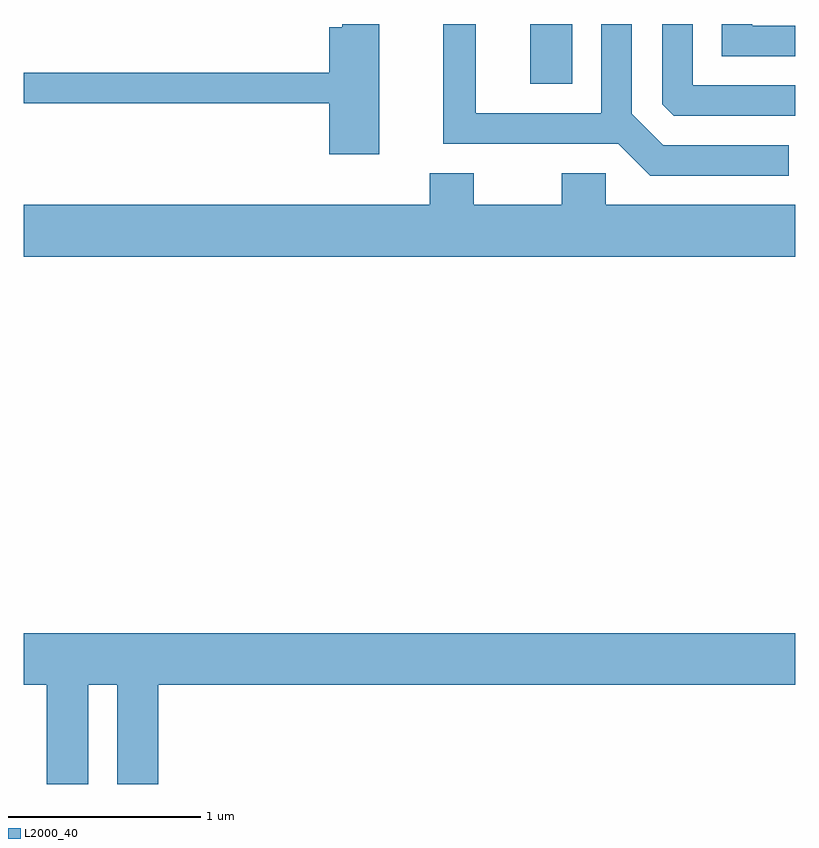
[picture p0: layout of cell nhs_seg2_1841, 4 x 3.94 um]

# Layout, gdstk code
import gdstk
lib = gdstk.Library(unit=1e-6, precision=1e-09)
def R(c, l, rs):  # rectangles x0, y0, x1, y1
    for r in rs: c.add(gdstk.rectangle(r[:2], r[2:], *l))
def P(c, l, *ps):  # polygons
    for p in ps: c.add(gdstk.Polygon(p, *l))
L2000_40 = (2000, 40)

nhs_seg2_1841 = lib.new_cell('nhs_seg2_1841')
R(nhs_seg2_1841, L2000_40, [(242.236,991.491,242.454,991.802)])
P(nhs_seg2_1841, L2000_40, [(241.454,991.802),(241.261,991.802),(241.261,991.784),(241.196,991.784),(241.196,991.549),(239.611,991.549),(239.611,991.391),(241.196,991.391),(241.196,991.126),(241.454,991.126)],
  [(243.611,991.794),(243.389,991.794),(243.389,991.802),(243.231,991.802),(243.231,991.636),(243.611,991.636)],
  [(243.611,991.484),(243.079,991.484),(243.079,991.802),(242.921,991.802),(242.921,991.387),(242.982,991.326),(243.611,991.326)],
  [(243.578,991.174),(242.927,991.174),(242.764,991.337),(242.764,991.802),(242.606,991.802),(242.606,991.339),(241.954,991.339),(241.954,991.802),(241.786,991.802),(241.786,991.181),(242.694,991.181),(242.859,991.016),(243.578,991.016)],
  [(243.611,990.864),(242.629,990.864),(242.629,991.029),(242.401,991.029),(242.401,990.864),(241.944,990.864),(241.944,991.029),(241.716,991.029),(241.716,990.864),(239.611,990.864),(239.611,990.596),(243.611,990.596)],
  [(239.944,988.376),(240.096,988.376),(240.096,987.861),(240.309,987.861),(240.309,988.376),(243.611,988.376),(243.611,988.644),(239.611,988.644),(239.611,988.376),(239.731,988.376),(239.731,987.861),(239.944,987.861)])

lib.write_gds('nhs_seg2_1841.gds')
